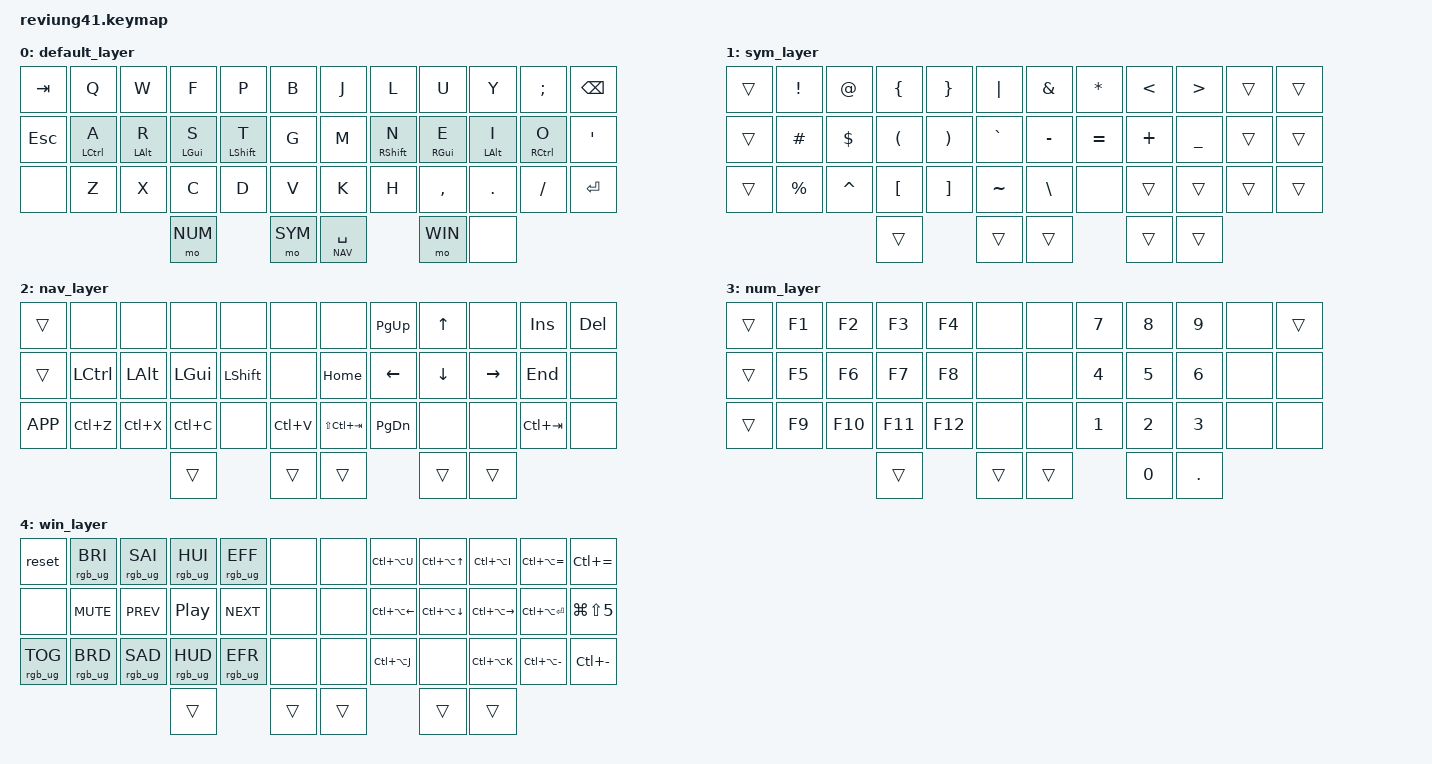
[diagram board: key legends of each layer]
/*
 * Copyright (c) 2020 The ZMK Contributors
 *
 * SPDX-License-Identifier: MIT
 */

#include <behaviors.dtsi>
#include <dt-bindings/zmk/keys.h>
#include <dt-bindings/zmk/bt.h>
#include <dt-bindings/zmk/rgb.h>

#define DEFAULT 0
#define SYM     1
#define NAV     2
#define NUM     3
#define WIN     4

&mt {
    tapping-term-ms = <180>;
};

/ {
        behaviors {
            hm: homerow_mods {
                compatible = "zmk,behavior-hold-tap";
                label = "HOMEROW_MODS";
                #binding-cells = <2>;
                tapping-term-ms = <170>;
                quick_tap_ms = <0>;
                flavor = "tap-preferred";
                bindings = <&kp>, <&kp>;
            };
        };

        combos {
            compatible = "zmk,combos";
            combo_capsword {
                timeout-ms = <50>;
                key-positions = <16 19>;
                bindings = <&caps_word>;
          };
        };

        keymap {
                compatible = "zmk,keymap";
                default_layer {
// -------------------------------------------------------------------------------------
// |  TAB |  Q  |  W  |  F  |  P  |  B  |   |  J  |  L   |  U  |  Y  |  ;  |   BSPC    |
// |  ESC |  A  |  R  |  S  |  T  |  G  |   |  M  |  N   |  E  |  I  |  O  |    '      |
// |      |  Z  |  X  |  C  |  D  |  V  |   |  K  |  H   |  ,  |  .  |  /  |   RET     |
//                         | NUM | SYM | SPC/NAV | WIN |
                        bindings = <
   &kp TAB &kp Q &kp W &kp F &kp P &kp B   &kp J &kp L  &kp U     &kp Y   &kp SEMI  &kp BSPC
   &kp ESC &hm LCTRL A &hm LALT R &hm LGUI S &hm LSHFT T &kp G   &kp M &hm RSHFT N  &hm RGUI E &hm LALT I &hm RCTRL O &kp SQT
   &none   &kp Z &kp X &kp C &kp D &kp V   &kp K &kp H  &kp COMMA &kp DOT &kp FSLH &kp RET
                        &mo NUM  &mo SYM &lt NAV SPACE &mo WIN &none
                        >;
                };

                sym_layer {
// ----------------------------------------------------------------------------
// |    |  !  |  @  |  {  |  }  | "|" |   |  &  |  *  |  <  |  >  |     |     |
// |    |  #  |  $  |  (  |  )  |  `  |   |  -  |  =  |  +  |  _  |     |     |
// |    |  %  |  ^  |  [  |  ]  |  ~  |   |  /  |     |     |     |     |     |
//                       |     |     |     |    |     |
                        bindings = <
   &trans &kp EXCL  &kp AT   &kp LBRC &kp RBRC &kp PIPE        &kp AMPS &kp ASTRK &kp LT  &kp GT  &trans     &trans
   &trans &kp HASH  &kp DLLR &kp LPAR &kp RPAR &kp GRAVE       &kp MINUS &kp EQUAL &kp PLUS &kp UNDER &trans &trans
   &trans &kp PRCNT &kp CARET &kp LBKT &kp RBKT &kp TILDE      &kp BSLH &none  &trans &trans &trans &trans
                                 &trans      &trans       &trans         &trans   &trans
                        >;
                };

                nav_layer {
// ----------------------------------------------------------------------------------
// |    |     |     |     |     |     |   |     |     | PGUP | UP |      | INS | DEL |
// |    | CTRL| ALT | GUI | SHFT|     |   |     | HOME| LEFT |DOWN|RIGHT | END |     |
// |MENU| UNDO| CUT |COPY |     | PSTE|   |     | <tab| PGDN |    |      | tab>|     |
//                       |     |     |     |    |     |
                        bindings = <
   &trans &none     &none     &none     &none     &none         &none &kp PG_UP &kp UP &none &kp INS &kp DEL
   &trans &kp LCTRL &kp LALT  &kp LGUI  &kp LSHFT &none         &kp HOME &kp LEFT &kp DOWN &kp RIGHT &kp END &none
   &kp K_APP &kp LC(Z) &kp LC(X) &kp LC(C) &none &kp LC(V)         &kp LS(LC(TAB)) &kp PG_DN &none &none &kp LC(TAB) &none
                                &trans      &trans         &trans        &trans     &trans
                        >;
                };

                num_layer {
// ----------------------------------------------------------------------------
// |    | F1  | F2  | F3  | F4  |     |   |     |  7  |  8  |  9  |     |     |
// |    | F5  | F6  | F7  | F8  |     |   |     |  4  |  5  |  6  |     |     |
// |    | F9  | F10 | F11 | F12 |     |   |     |  1  |  2  |  3  |     |     |
//                       |     |     |     | 0  |  .  |
                        bindings = <
   &trans &kp F1    &kp F2    &kp F3    &kp F4    &none         &none     &kp N7    &kp N8    &kp N9    &none     &trans
   &trans &kp F5    &kp F6    &kp F7    &kp F8    &none         &none     &kp N4    &kp N5    &kp N6    &none     &none
   &trans &kp F9    &kp F10   &kp F11   &kp F12   &none         &none     &kp N1    &kp N2    &kp N3    &none     &none
                                &trans      &trans         &trans          &kp N0      &kp DOT
                        >;
                };


                win_layer {
// -----------------------------------------------------------------------------------------------------------------------------
// | RESET    | RGB BRI+ | RGB SAT+ | RGB HUE+ | RGB ANI+ |         |   |         | WIN TL| WIN U | WIN TR  | WIN LG  | ZOOM + |
// |          | MUTE     | PREV     | PLY/PAU  | NEXT     |         |   |         | WIN L | WIN D | WIN R   | WIN FUL | PSCRN  |
// | RGB TOG  | RGB BRI- | RGB SAT- | RGB HUE- | RGB ANI+ |         |   |         | WIN BL|       | WIN BR  | WIN SM  | ZOOM - |
//                                              |     |     |     |     |     |
                        bindings = <
   &reset &rgb_ug RGB_BRI &rgb_ug RGB_SAI &rgb_ug RGB_HUI &rgb_ug RGB_EFF &none            &none &kp LC(LA(U)) &kp LC(LA(UP)) &kp LC(LA(I)) &kp LC(LA(EQUAL)) &kp LC(EQUAL)
   &none &kp C_MUTE &kp C_PREV &kp C_PP &kp C_NEXT &none         &none &kp LC(LA(LEFT)) &kp LC(LA(DOWN)) &kp LC(LA(RIGHT)) &kp LC(LA(RET)) &kp LG(LS(N5))
   &rgb_ug RGB_TOG &rgb_ug RGB_BRD &rgb_ug RGB_SAD &rgb_ug RGB_HUD &rgb_ug RGB_EFR &none   &none &kp LC(LA(J)) &none &kp LC(LA(K)) &kp LC(LA(MINUS)) &kp LC(MINUS)
                                     &trans      &trans       &trans        &trans      &trans
                        >;
                };
        };

};
